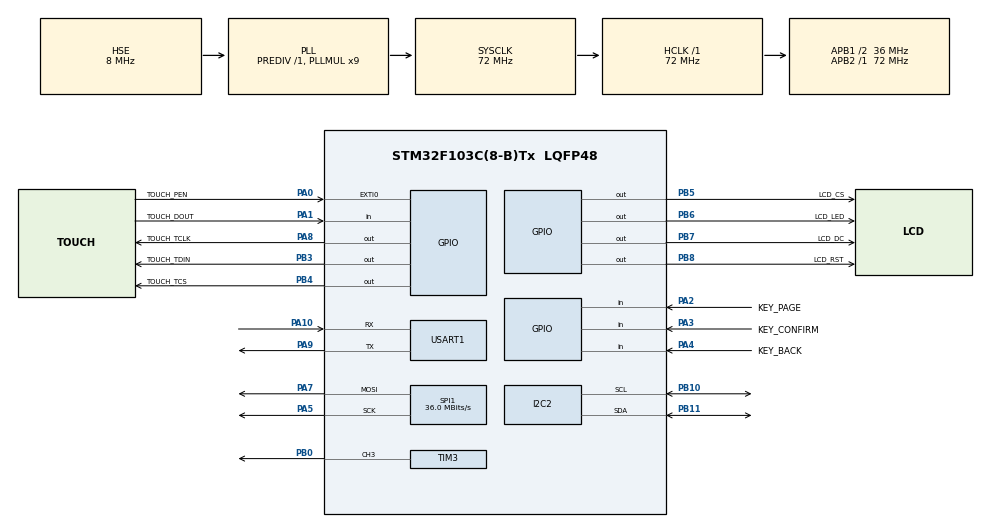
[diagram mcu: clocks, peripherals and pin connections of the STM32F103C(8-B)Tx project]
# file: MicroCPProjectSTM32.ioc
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Dma.Request0=SPI1_TX
Dma.SPI1_TX.0.Direction=DMA_MEMORY_TO_PERIPH
Dma.SPI1_TX.0.Instance=DMA1_Channel3
Dma.SPI1_TX.0.MemDataAlignment=DMA_MDATAALIGN_BYTE
Dma.SPI1_TX.0.MemInc=DMA_MINC_ENABLE
Dma.SPI1_TX.0.Mode=DMA_NORMAL
Dma.SPI1_TX.0.PeriphDataAlignment=DMA_PDATAALIGN_BYTE
Dma.SPI1_TX.0.PeriphInc=DMA_PINC_DISABLE
Dma.SPI1_TX.0.Priority=DMA_PRIORITY_MEDIUM
Mcu.Family=STM32F1
Mcu.Name=STM32F103C(8-B)Tx
Mcu.Package=LQFP48
NVIC.DMA1_Channel3_IRQn=true\:0\:0\:false\:false\:true\:false\:true\:true
NVIC.PriorityGroup=NVIC_PRIORITYGROUP_4
PA0-WKUP.GPIO_Label=TOUCH_PEN
PA0-WKUP.GPIO_ModeDefaultEXTI=GPIO_MODE_IT_RISING
PA0-WKUP.GPIO_PuPd=GPIO_PULLUP
PA0-WKUP.Signal=GPXTI0
PA1.GPIO_Label=TOUCH_DOUT
PA1.GPIO_PuPd=GPIO_PULLUP
PA1.Signal=GPIO_Input
PA10.Mode=Asynchronous
PA10.Signal=USART1_RX
PA13.Mode=Serial_Wire
PA13.Signal=SYS_JTMS-SWDIO
PA14.Mode=Serial_Wire
PA14.Signal=SYS_JTCK-SWCLK
PA2.GPIO_Label=KEY_PAGE
PA2.GPIO_PuPd=GPIO_PULLUP
PA2.Signal=GPIO_Input
PA3.GPIO_Label=KEY_CONFIRM
PA3.GPIO_PuPd=GPIO_PULLUP
PA3.Signal=GPIO_Input
PA4.GPIO_Label=KEY_BACK
PA4.GPIO_PuPd=GPIO_PULLUP
PA4.Signal=GPIO_Input
PA5.Mode=TX_Only_Simplex_Unidirect_Master
PA5.Signal=SPI1_SCK
PA6.Signal=SPI1_MISO
PA7.Mode=TX_Only_Simplex_Unidirect_Master
PA7.Signal=SPI1_MOSI
PA8.GPIO_Label=TOUCH_TCLK
PA8.GPIO_Speed=GPIO_SPEED_FREQ_HIGH
PA8.PinState=GPIO_PIN_RESET
PA8.Signal=GPIO_Output
PA9.Mode=Asynchronous
PA9.Signal=USART1_TX
PB0.Signal=S_TIM3_CH3
PB10.Mode=I2C
PB10.Signal=I2C2_SCL
PB11.Mode=I2C
PB11.Signal=I2C2_SDA
PB3.GPIO_Label=TOUCH_TDIN
PB3.GPIO_Speed=GPIO_SPEED_FREQ_HIGH
PB3.PinState=GPIO_PIN_RESET
PB3.Signal=GPIO_Output
PB4.GPIO_Label=TOUCH_TCS
PB4.GPIO_Speed=GPIO_SPEED_FREQ_HIGH
PB4.PinState=GPIO_PIN_SET
PB4.Signal=GPIO_Output
PB5.GPIO_Label=LCD_CS
PB5.GPIO_Speed=GPIO_SPEED_FREQ_HIGH
PB5.PinState=GPIO_PIN_SET
PB5.Signal=GPIO_Output
PB6.GPIO_Label=LCD_LED
PB6.GPIO_Speed=GPIO_SPEED_FREQ_HIGH
PB6.PinState=GPIO_PIN_RESET
PB6.Signal=GPIO_Output
PB7.GPIO_Label=LCD_DC
PB7.GPIO_Speed=GPIO_SPEED_FREQ_HIGH
PB7.PinState=GPIO_PIN_SET
PB7.Signal=GPIO_Output
PB8.GPIO_Label=LCD_RST
PB8.GPIO_Speed=GPIO_SPEED_FREQ_HIGH
PB8.PinState=GPIO_PIN_SET
PB8.Signal=GPIO_Output
PC14-OSC32_IN.Mode=LSE-External-Oscillator
PC14-OSC32_IN.Signal=RCC_OSC32_IN
PC15-OSC32_OUT.Mode=LSE-External-Oscillator
PC15-OSC32_OUT.Signal=RCC_OSC32_OUT
PD0-OSC_IN.Mode=HSE-External-Oscillator
PD0-OSC_IN.Signal=RCC_OSC_IN
PD1-OSC_OUT.Mode=HSE-External-Oscillator
PD1-OSC_OUT.Signal=RCC_OSC_OUT
ProjectManager.HeapSize=0x200
ProjectManager.StackSize=0x400
ProjectManager.TargetToolchain=CMake
RCC.AHBFreq_Value=72000000
RCC.APB1CLKDivider=RCC_HCLK_DIV2
RCC.APB1Freq_Value=36000000
RCC.APB1TimFreq_Value=72000000
RCC.APB2Freq_Value=72000000
RCC.APB2TimFreq_Value=72000000
RCC.HCLKFreq_Value=72000000
RCC.PLLMUL=RCC_PLL_MUL9
RCC.PLLSourceVirtual=RCC_PLLSOURCE_HSE
RCC.SYSCLKFreq_VALUE=72000000
RCC.SYSCLKSource=RCC_SYSCLKSOURCE_PLLCLK
RCC.USBFreq_Value=72000000
SH.S_TIM3_CH3.0=TIM3_CH3,PWM Generation3 CH3
SPI1.BaudRatePrescaler=SPI_BAUDRATEPRESCALER_2
SPI1.CLKPhase=SPI_PHASE_1EDGE
SPI1.CLKPolarity=SPI_POLARITY_LOW
SPI1.CalculateBaudRate=36.0 MBits/s
SPI1.Direction=SPI_DIRECTION_2LINES
SPI1.Mode=SPI_MODE_MASTER
SPI1.VirtualType=VM_MASTER
SYS.Debug=SYS_DEBUG_SERIAL_WIRE
TIM3.Channel-PWM\ Generation3\ CH3=TIM_CHANNEL_3
USART1.VirtualMode=VM_ASYNC
VP_TIM3_VS_ClockSourceINT.Mode=Internal
board=custom

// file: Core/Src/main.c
/* USER CODE BEGIN Header */
/**
  ******************************************************************************
  * @file           : main.c
  * @brief          : Main program body
  ******************************************************************************
  * @attention
  *
  * Copyright (c) 2026 STMicroelectronics.
  * All rights reserved.
  *
  * This software is licensed under terms that can be found in the LICENSE file
  * in the root directory of this software component.
  * If no LICENSE file comes with this software, it is provided AS-IS.
  *
  ******************************************************************************
  */
/* USER CODE END Header */
#include "main.h"

/* USER CODE BEGIN Includes */
#include "app_entry.h"
/* USER CODE END Includes */

I2C_HandleTypeDef hi2c2;

SPI_HandleTypeDef hspi1;
DMA_HandleTypeDef hdma_spi1_tx;

TIM_HandleTypeDef htim3;

UART_HandleTypeDef huart1;

void SystemClock_Config(void);
static void MX_GPIO_Init(void);
static void MX_DMA_Init(void);
static void MX_USART1_UART_Init(void);
static void MX_SPI1_Init(void);
static void MX_I2C2_Init(void);
static void MX_TIM3_Init(void);

/* USER CODE BEGIN 0 */
// Redirect printf to USART1
int __io_putchar(int ch)
{
    HAL_UART_Transmit(&huart1, (uint8_t*)&ch, 1, HAL_MAX_DELAY);
    return ch;
}
/* USER CODE END 0 */

int main(void)
{

  /* MCU Configuration--------------------------------------------------------*/

  /* Reset of all peripherals, Initializes the Flash interface and the Systick. */
  HAL_Init();

  /* Configure the system clock */
  SystemClock_Config();

  /* Initialize all configured peripherals */
  MX_GPIO_Init();
  MX_DMA_Init();
  MX_USART1_UART_Init();
  MX_SPI1_Init();
  MX_I2C2_Init();
  MX_TIM3_Init();
  /* USER CODE BEGIN 2 */
  App_Init();
  /* USER CODE END 2 */

  /* Infinite loop */
  /* USER CODE BEGIN WHILE */
  while (1)
  {
    App_Loop();
    /* USER CODE END WHILE */

  }
}

void SystemClock_Config(void)
{
  RCC_OscInitTypeDef RCC_OscInitStruct = {0};
  RCC_ClkInitTypeDef RCC_ClkInitStruct = {0};

  /** Initializes the RCC Oscillators according to the specified parameters
  * in the RCC_OscInitTypeDef structure.
  */
  RCC_OscInitStruct.OscillatorType = RCC_OSCILLATORTYPE_HSE;
  RCC_OscInitStruct.HSEState = RCC_HSE_ON;
  RCC_OscInitStruct.HSEPredivValue = RCC_HSE_PREDIV_DIV1;
  RCC_OscInitStruct.HSIState = RCC_HSI_ON;
  RCC_OscInitStruct.PLL.PLLState = RCC_PLL_ON;
  RCC_OscInitStruct.PLL.PLLSource = RCC_PLLSOURCE_HSE;
  RCC_OscInitStruct.PLL.PLLMUL = RCC_PLL_MUL9;
  if (HAL_RCC_OscConfig(&RCC_OscInitStruct) != HAL_OK)
  {
    Error_Handler();
  }

  /** Initializes the CPU, AHB and APB buses clocks
  */
  RCC_ClkInitStruct.ClockType = RCC_CLOCKTYPE_HCLK|RCC_CLOCKTYPE_SYSCLK
                              |RCC_CLOCKTYPE_PCLK1|RCC_CLOCKTYPE_PCLK2;
  RCC_ClkInitStruct.SYSCLKSource = RCC_SYSCLKSOURCE_PLLCLK;
  RCC_ClkInitStruct.AHBCLKDivider = RCC_SYSCLK_DIV1;
  RCC_ClkInitStruct.APB1CLKDivider = RCC_HCLK_DIV2;
  RCC_ClkInitStruct.APB2CLKDivider = RCC_HCLK_DIV1;

  if (HAL_RCC_ClockConfig(&RCC_ClkInitStruct, FLASH_LATENCY_2) != HAL_OK)
  {
    Error_Handler();
  }
}

static void MX_I2C2_Init(void)
{

  hi2c2.Instance = I2C2;
  hi2c2.Init.ClockSpeed = 100000;
  hi2c2.Init.DutyCycle = I2C_DUTYCYCLE_2;
  hi2c2.Init.OwnAddress1 = 0;
  hi2c2.Init.AddressingMode = I2C_ADDRESSINGMODE_7BIT;
  hi2c2.Init.DualAddressMode = I2C_DUALADDRESS_DISABLE;
  hi2c2.Init.OwnAddress2 = 0;
  hi2c2.Init.GeneralCallMode = I2C_GENERALCALL_DISABLE;
  hi2c2.Init.NoStretchMode = I2C_NOSTRETCH_DISABLE;
  if (HAL_I2C_Init(&hi2c2) != HAL_OK)
  {
    Error_Handler();
  }

}

static void MX_SPI1_Init(void)
{

  /* SPI1 parameter configuration*/
  hspi1.Instance = SPI1;
  hspi1.Init.Mode = SPI_MODE_MASTER;
  hspi1.Init.Direction = SPI_DIRECTION_2LINES;
  hspi1.Init.DataSize = SPI_DATASIZE_8BIT;
  hspi1.Init.CLKPolarity = SPI_POLARITY_LOW;
  hspi1.Init.CLKPhase = SPI_PHASE_1EDGE;
  hspi1.Init.NSS = SPI_NSS_SOFT;
  hspi1.Init.BaudRatePrescaler = SPI_BAUDRATEPRESCALER_2;
  hspi1.Init.FirstBit = SPI_FIRSTBIT_MSB;
  hspi1.Init.TIMode = SPI_TIMODE_DISABLE;
  hspi1.Init.CRCCalculation = SPI_CRCCALCULATION_DISABLE;
  hspi1.Init.CRCPolynomial = 10;
  if (HAL_SPI_Init(&hspi1) != HAL_OK)
  {
    Error_Handler();
  }

}

static void MX_TIM3_Init(void)
{

  TIM_ClockConfigTypeDef sClockSourceConfig = {0};
  TIM_MasterConfigTypeDef sMasterConfig = {0};
  TIM_OC_InitTypeDef sConfigOC = {0};

  htim3.Instance = TIM3;
  htim3.Init.Prescaler = 0;
  htim3.Init.CounterMode = TIM_COUNTERMODE_UP;
  htim3.Init.Period = 65535;
  htim3.Init.ClockDivision = TIM_CLOCKDIVISION_DIV1;
  htim3.Init.AutoReloadPreload = TIM_AUTORELOAD_PRELOAD_DISABLE;
  if (HAL_TIM_Base_Init(&htim3) != HAL_OK)
  {
    Error_Handler();
  }
  sClockSourceConfig.ClockSource = TIM_CLOCKSOURCE_INTERNAL;
  if (HAL_TIM_ConfigClockSource(&htim3, &sClockSourceConfig) != HAL_OK)
  {
    Error_Handler();
  }
  if (HAL_TIM_PWM_Init(&htim3) != HAL_OK)
  {
    Error_Handler();
  }
  sMasterConfig.MasterOutputTrigger = TIM_TRGO_RESET;
  sMasterConfig.MasterSlaveMode = TIM_MASTERSLAVEMODE_DISABLE;
  if (HAL_TIMEx_MasterConfigSynchronization(&htim3, &sMasterConfig) != HAL_OK)
  {
    Error_Handler();
  }
  sConfigOC.OCMode = TIM_OCMODE_PWM1;
  sConfigOC.Pulse = 0;
  sConfigOC.OCPolarity = TIM_OCPOLARITY_HIGH;
  sConfigOC.OCFastMode = TIM_OCFAST_DISABLE;
  if (HAL_TIM_PWM_ConfigChannel(&htim3, &sConfigOC, TIM_CHANNEL_3) != HAL_OK)
  {
    Error_Handler();
  }
  HAL_TIM_MspPostInit(&htim3);

}

static void MX_USART1_UART_Init(void)
{

  huart1.Instance = USART1;
  huart1.Init.BaudRate = 115200;
  huart1.Init.WordLength = UART_WORDLENGTH_8B;
  huart1.Init.StopBits = UART_STOPBITS_1;
  huart1.Init.Parity = UART_PARITY_NONE;
  huart1.Init.Mode = UART_MODE_TX_RX;
  huart1.Init.HwFlowCtl = UART_HWCONTROL_NONE;
  huart1.Init.OverSampling = UART_OVERSAMPLING_16;
  if (HAL_UART_Init(&huart1) != HAL_OK)
  {
    Error_Handler();
  }

}

static void MX_DMA_Init(void)
{

  /* DMA controller clock enable */
  __HAL_RCC_DMA1_CLK_ENABLE();

  /* DMA interrupt init */
  /* DMA1_Channel3_IRQn interrupt configuration */
  HAL_NVIC_SetPriority(DMA1_Channel3_IRQn, 0, 0);
  HAL_NVIC_EnableIRQ(DMA1_Channel3_IRQn);

}

static void MX_GPIO_Init(void)
{
  GPIO_InitTypeDef GPIO_InitStruct = {0};
  /* USER CODE BEGIN MX_GPIO_Init_1 */
  __HAL_RCC_AFIO_CLK_ENABLE();
  __HAL_AFIO_REMAP_SWJ_NOJTAG();
  /* USER CODE END MX_GPIO_Init_1 */

  /* GPIO Ports Clock Enable */
  __HAL_RCC_GPIOC_CLK_ENABLE();
  __HAL_RCC_GPIOD_CLK_ENABLE();
  __HAL_RCC_GPIOA_CLK_ENABLE();
  __HAL_RCC_GPIOB_CLK_ENABLE();

  /*Configure GPIO pin Output Level */
  HAL_GPIO_WritePin(TOUCH_TCLK_GPIO_Port, TOUCH_TCLK_Pin, GPIO_PIN_RESET);

  /*Configure GPIO pin Output Level */
  HAL_GPIO_WritePin(GPIOB, TOUCH_TDIN_Pin|LCD_LED_Pin, GPIO_PIN_RESET);

  /*Configure GPIO pin Output Level */
  HAL_GPIO_WritePin(GPIOB, TOUCH_TCS_Pin|LCD_CS_Pin|LCD_DC_Pin|LCD_RST_Pin, GPIO_PIN_SET);

  /*Configure GPIO pin : TOUCH_PEN_Pin */
  GPIO_InitStruct.Pin = TOUCH_PEN_Pin;
  GPIO_InitStruct.Mode = GPIO_MODE_IT_RISING;
  GPIO_InitStruct.Pull = GPIO_PULLUP;
  HAL_GPIO_Init(TOUCH_PEN_GPIO_Port, &GPIO_InitStruct);

  /*Configure GPIO pins : TOUCH_DOUT_Pin KEY_PAGE_Pin KEY_CONFIRM_Pin KEY_BACK_Pin */
  GPIO_InitStruct.Pin = TOUCH_DOUT_Pin|KEY_PAGE_Pin|KEY_CONFIRM_Pin|KEY_BACK_Pin;
  GPIO_InitStruct.Mode = GPIO_MODE_INPUT;
  GPIO_InitStruct.Pull = GPIO_PULLUP;
  HAL_GPIO_Init(GPIOA, &GPIO_InitStruct);

  /*Configure GPIO pin : TOUCH_TCLK_Pin */
  GPIO_InitStruct.Pin = TOUCH_TCLK_Pin;
  GPIO_InitStruct.Mode = GPIO_MODE_OUTPUT_PP;
  GPIO_InitStruct.Pull = GPIO_NOPULL;
  GPIO_InitStruct.Speed = GPIO_SPEED_FREQ_HIGH;
  HAL_GPIO_Init(TOUCH_TCLK_GPIO_Port, &GPIO_InitStruct);

  /*Configure GPIO pins : TOUCH_TDIN_Pin TOUCH_TCS_Pin LCD_CS_Pin LCD_LED_Pin
                           LCD_DC_Pin LCD_RST_Pin */
  GPIO_InitStruct.Pin = TOUCH_TDIN_Pin|TOUCH_TCS_Pin|LCD_CS_Pin|LCD_LED_Pin
                          |LCD_DC_Pin|LCD_RST_Pin;
  GPIO_InitStruct.Mode = GPIO_MODE_OUTPUT_PP;
  GPIO_InitStruct.Pull = GPIO_NOPULL;
  GPIO_InitStruct.Speed = GPIO_SPEED_FREQ_HIGH;
  HAL_GPIO_Init(GPIOB, &GPIO_InitStruct);

  /* USER CODE BEGIN MX_GPIO_Init_2 */
  HAL_NVIC_SetPriority(EXTI0_IRQn, 5, 0);
  HAL_NVIC_EnableIRQ(EXTI0_IRQn);

  /* USER CODE END MX_GPIO_Init_2 */
}

/* USER CODE BEGIN 4 */
void HAL_GPIO_EXTI_Callback(uint16_t GPIO_Pin)
{
  if (GPIO_Pin == TOUCH_PEN_Pin) {
    App_TouchPen_ISR();
  }
}

void HAL_SYSTICK_Callback(void)
{
  static uint32_t counter = 0;
  counter++;
  if (counter >= 10) { // 10ms
    counter = 0;
    App_Timer_10ms_ISR();
  }
}
/* USER CODE END 4 */

void Error_Handler(void)
{
  __disable_irq();
  while (1)
  {
  }
}
